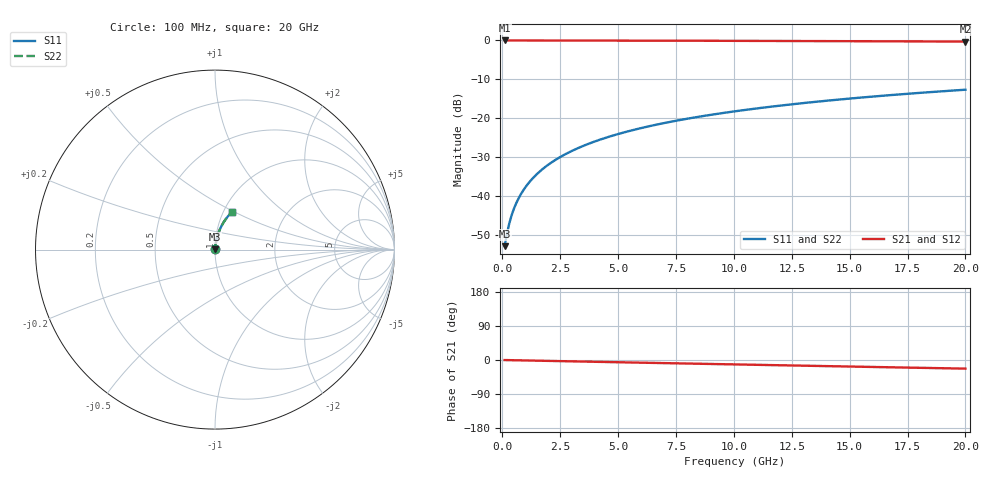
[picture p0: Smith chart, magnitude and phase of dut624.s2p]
! Touchstone file exported from HFSS 2026.1.0
!  File:  C:/ffzhzh/LocalFiles/Ansys_Project_Files/temp_train_TMRDL_624_1783009042_51716.aedt
!  Generated:  12:18:50 AM Jul  3, 2026
!  Design:  TMRDL
!  Project:  temp_train_TMRDL_624_1783009042_51716
! Variables:
!  h_bsmrdl = 2um
!  h_ox = 20um
!  h_rdl = 5um
!  h_sub = 80um
!  h_tmrdl = 4.05um
!  h_tsv = 80um
!  h_via = 3um
!  l_bsmrdl = 300um
!  l_sub = 703.38um
!  l_tmrdl = 303.38um
!  m_sub = 200um
!  pitch = 38.88um
!  r_tsv = 6um
!  s_tmrdl = 10um
!  w_bsmrdl = 18um
!  w_sub = 500um
!  w_tmrdl = 15.49um
!  x_tsv_center1 = 311.125um
!  x_tsv_center2 = 629.125um
!  x_tsv_center3 = 947.995um
!  x_tsv_center4 = 1265.995um
!  x_tsv_center5 = 1584.865um
!  x_tsv_center6 = 1902.865um
# GHz S MA R 50.000000
! Terminal data exported
! Port[1] = TM_RDL1_1_T1
! Port[2] = TM_RDL1_1_T2
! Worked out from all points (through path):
!   200 points, 100 MHz to 20 GHz, reference 50 ohm
!   highest |S21| = -0.02 dB at 100 MHz (marker M1); lowest = -0.3 dB at 20 GHz (marker M2)
!   group delay of S21, straight-line fit = 3.16 ps
!   lowest |S11| = -52.7 dB at 100 MHz (marker M3), VSWR 1.00, Z = 50.2 + j0.137 ohm
!   |S11| at or under -10 dB: start of sweep to end of sweep
!   |S22| runs from -52.7 to -12.6 dB; largest |S21 - S12| = 2.1e-15
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0.1  0.002308 36.3  0.9981 -0.1  0.9981 -0.1  0.002308 36.3
! Gamma 0 0 0 0
! Port Impedance 50 0 50 0
0.2  0.003322 54.7  0.9981 -0.2  0.9981 -0.2  0.003322 54.7
0.3  0.004497 63.7  0.998 -0.4  0.998 -0.4  0.004497 63.7
0.4  0.005714 68.7  0.9979 -0.5  0.9979 -0.5  0.005714 68.7
0.5  0.006944 71.9  0.9979 -0.6  0.9979 -0.6  0.006944 71.9
0.6  0.008179 74.2  0.9978 -0.7  0.9978 -0.7  0.008179 74.2
0.8  0.01066 77.1  0.9978 -1.0  0.9978 -1.0  0.01066 77.1
1.1  0.01441 79.6  0.9976 -1.3  0.9976 -1.3  0.01441 79.6
1.3  0.01691 80.5  0.9976 -1.6  0.9976 -1.6  0.01691 80.5
1.6  0.02069 81.4  0.9974 -1.9  0.9974 -1.9  0.02069 81.4
2.1  0.02698 82.1  0.9972 -2.5  0.9972 -2.5  0.02698 82.1
2.7  0.03452 82.3  0.9968 -3.2  0.9968 -3.2  0.03452 82.3
3.5  0.04453 82.1  0.9961 -4.2  0.9961 -4.2  0.04453 82.1
4.2  0.05323 81.6  0.9954 -5.0  0.9954 -5.0  0.05323 81.6
5  0.0631 80.9  0.9945 -5.9  0.9945 -5.9  0.0631 80.9
5.9  0.07409 80.1  0.9934 -7.0  0.9934 -7.0  0.07409 80.1
6.8  0.08498 79.2  0.9922 -8.0  0.9922 -8.0  0.08498 79.2
8.3  0.1029 77.6  0.9899 -9.7  0.9899 -9.7  0.1029 77.6
10.1  0.1241 75.7  0.9869 -11.8  0.9869 -11.8  0.1241 75.7
13.4  0.1619 72.3  0.9806 -15.5  0.9806 -15.5  0.1619 72.3
16.7  0.1983 68.8  0.9732 -19.2  0.9732 -19.2  0.1983 68.8
20  0.2334 65.4  0.9649 -22.8  0.9649 -22.8  0.2334 65.4
